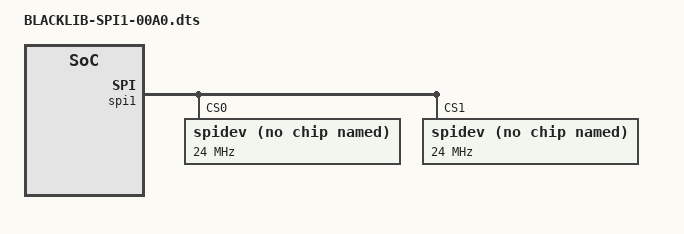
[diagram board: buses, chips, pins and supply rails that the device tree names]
/*
 * ####################################################################################
 * #  Custom device tree file to create virtual SPI0 cape in BlackLib Library.        #
 * #  Copyright (C) 2014 by Yigit YUCE                                                #
 * ####################################################################################
 * #                                                                                  #
 * #  This file is part of BlackLib library.                                          #
 * #                                                                                  #
 * #  BlackLib library is free software: you can redistribute it and/or modify        #
 * #  it under the terms of the GNU Lesser General Public License as published by     #
 * #  the Free Software Foundation, either version 3 of the License, or               #
 * #  (at your option) any later version.                                             #
 * #                                                                                  #
 * #  BlackLib library is distributed in the hope that it will be useful,             #
 * #  but WITHOUT ANY WARRANTY; without even the implied warranty of                  #
 * #  MERCHANTABILITY or FITNESS FOR A PARTICULAR PURPOSE.  See the                   #
 * #  GNU Lesser General Public License for more details.                             #
 * #                                                                                  #
 * #  You should have received a copy of the GNU Lesser General Public License        #
 * #  along with this program.  If not, see <http://www.gnu.org/licenses/>.           #
 * #                                                                                  #
 * #  For any comment or suggestion please contact the creator of BlackLib Library    #
 * #  at ygtyce@gmail.com                                                             #
 * #                                                                                  #
 * ####################################################################################
 */

/dts-v1/;
/plugin/;

/ {
    compatible      = "ti,beaglebone", "ti,beaglebone-black";

    part-number     = "BLACKLIB-SPI1";
    version         = "00A0";

    exclusive-use   =
        "P9.31",    /* spi1_sclk */
        "P9.29",    /* spi1_d0 */
        "P9.30",    /* spi1_d1 */
        "P9.28",    /* spi1_cs0 */
        // "P9.42",    /* spi1_cs1 */
        "spi1";     /* the hardware ip uses */

    fragment@0 {
        target      = <&am33xx_pinmux>;
        __overlay__ {
            bb_spi1_pins: pinmux_bb_spi1_pins {
                pinctrl-single,pins = <
                    0x190 0x33      /* mcasp0_aclkx.spi1_sclk,      INPUT_PULLUP  | MODE3 */
                    0x194 0x33      /* mcasp0_fsx.spi1_d0,          INPUT_PULLUP  | MODE3 */
                    0x198 0x13      /* mcasp0_axr0.spi1_d1,         OUTPUT_PULLUP | MODE3 */
                    0x19c 0x13      /* mcasp0_ahclkr.spi1_cs0,      OUTPUT_PULLUP | MODE3 */
                    // 0x164 0x12   /* eCAP0_in_PWM0_out.spi1_cs1   OUTPUT_PULLUP | MODE2 */
                >;
            };
        };
    };

    fragment@1 {
        target = <&spi1>;
        __overlay__ {
            #address-cells  = <1>;
            #size-cells     = <0>;

            status          = "okay";
            pinctrl-names   = "default";
            pinctrl-0       = <&bb_spi1_pins>;    

            spidev@0{
                compatible          = "spidev";
                reg                 = <0>;
                spi-max-frequency   = <24000000>;
            };
            spidev@1{
                compatible          = "spidev";
                reg                 = <1>;
                spi-max-frequency   = <24000000>;
            };            
        };
    };
};
